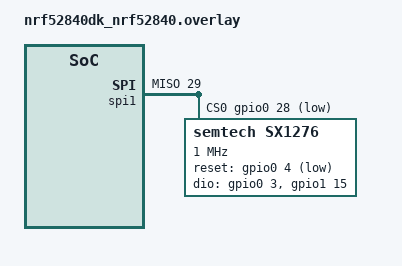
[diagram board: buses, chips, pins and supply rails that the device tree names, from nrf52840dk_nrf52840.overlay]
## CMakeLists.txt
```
#
# Copyright (c) 2019 Nordic Semiconductor ASA
#
# SPDX-License-Identifier: LicenseRef-BSD-5-Clause-Nordic
#
cmake_minimum_required(VERSION 3.8.2)

#Board selection
set(BOARD nrf52840dk_nrf52840)
#set(BOARD nrf5340pdk_nrf5340_cpunet)
#set(BOARD nrf5340pdk_nrf5340_cpuapp)
#set(BOARD nrf52840dongle_nrf52840)
#set(BOARD nrf52840dk_nrf52811)

find_package(Zephyr REQUIRED HINTS $ENV{ZEPHYR_BASE})
project(NONE)

# Include all files in folder src
FILE(GLOB app_sources_c src/*.c)
FILE(GLOB app_sources_cpp src/*.cpp)

target_sources(app PRIVATE
	${app_sources_c}
	${app_sources_cpp}
	sht3x-5.2.1/hw_i2c/sample-implementations/zephyr_user_space/sensirion_hw_i2c_implementation.c
	sht3x-5.2.1/sensirion_common.c
	sht3x-5.2.1/sht_git_version.c
	sht3x-5.2.1/sht3x.c)
target_include_directories(app PRIVATE include
	sht3x-5.2.1)
```

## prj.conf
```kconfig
#
# Copyright (c) 2019 Nordic Semiconductor ASA
#
# SPDX-License-Identifier: LicenseRef-BSD-5-Clause-Nordic
#
CONFIG_NCS_SAMPLES_DEFAULTS=y

# General configuration
CONFIG_SYSTEM_WORKQUEUE_STACK_SIZE=2048
CONFIG_FLASH=y
CONFIG_FLASH_MAP=y
#CONFIG_FCB=y
CONFIG_NVS=y
CONFIG_SETTINGS=y
CONFIG_HWINFO=y
CONFIG_LOG=y
CONFIG_LOG_PRINTK=y

CONFIG_DK_LIBRARY=y
CONFIG_BT_MESH_DK_PROV=y

# Bluetooth configuration
CONFIG_BT=y
CONFIG_BT_COMPANY_ID=0x0059
CONFIG_BT_DEVICE_NAME="LoRa Temp.Hum. Sensor"
CONFIG_BT_L2CAP_RX_MTU=69
CONFIG_BT_L2CAP_TX_MTU=69
CONFIG_BT_L2CAP_TX_BUF_COUNT=8
CONFIG_BT_LL_SW_SPLIT=y
CONFIG_BT_OBSERVER=y
CONFIG_BT_PERIPHERAL=y
CONFIG_BT_SETTINGS=y

# Disable unused Bluetooth features
CONFIG_BT_CTLR_DUP_FILTER_LEN=0
CONFIG_BT_CTLR_LE_ENC=n
CONFIG_BT_DATA_LEN_UPDATE=n
CONFIG_BT_PHY_UPDATE=n
CONFIG_BT_CTLR_CHAN_SEL_2=n
CONFIG_BT_CTLR_MIN_USED_CHAN=n
CONFIG_BT_CTLR_PRIVACY=n

# Bluetooth Mesh configuration
CONFIG_BT_MESH=y
CONFIG_BT_MESH_RELAY=y
CONFIG_BT_MESH_FRIEND=y
CONFIG_BT_MESH_LOW_POWER=n
CONFIG_BT_MESH_LPN_AUTO=n
CONFIG_BT_MESH_LPN_AUTO_TIMEOUT=5
CONFIG_BT_MESH_ADV_BUF_COUNT=13
CONFIG_BT_MESH_TX_SEG_MAX=10
CONFIG_BT_MESH_PB_GATT=y
CONFIG_BT_MESH_GATT_PROXY=n

# Bluetooth Mesh models
CONFIG_BT_MESH_SENSOR_SRV=y

# For NRF Dongle over SWD Flashing
#CONFIG_BOARD_HAS_NRF5_BOOTLOADER=y

# I2C SHT3xd Sensor
#CONFIG_STDOUT_CONSOLE=y
CONFIG_I2C=y
CONFIG_NEWLIB_LIBC=n
CONFIG_NEWLIB_LIBC_FLOAT_PRINTF=n
#CONFIG_SENSOR=y
#CONFIG_SHT3XD=y

# Power Managment Device
#CONFIG_PM=y
#CONFIG_PM_DEEP_SLEEP_STATES=y
#CONFIG_PM_STATE_LOCK=y
#CONFIG_SERIAL=n


# LoRa Stuff


# Enable GPIO pins and the SPI interface for 
# communicating with the RF95W module
CONFIG_GPIO=y
CONFIG_SPI=y

# Config USB support so that we can use a USB 
# to view log and debug information
#CONFIG_USB=y
#CONFIG_USB_DEVICE_STACK=y
#CONFIG_USB_DEVICE_PRODUCT="Zephyr Console"

# Point the console to the USB
#CONFIG_USB_UART_CONSOLE=y
#CONFIG_UART_INTERRUPT_DRIVEN=y
#CONFIG_UART_LINE_CTRL=y
#CONFIG_UART_CONSOLE_ON_DEV_NAME="CDC_ACM_0"

# Enable the console, logging and the printk function
CONFIG_CONSOLE=y
CONFIG_LOG=y
CONFIG_PRINTK=y

# Enable the SX12XX radio driver for Lora
CONFIG_LORA=y
CONFIG_LORA_LOG_LEVEL_DBG=y
CONFIG_LORA_SX12XX=y
CONFIG_LORA_SX1276=y

# Enable the Lorawan stack
CONFIG_LORAWAN=y
CONFIG_LORAWAN_LOG_LEVEL_DBG=y
# Define the Lorawan region to be used:
CONFIG_LORAMAC_REGION_EU868=y
#CONFIG_LORAWAN_SYSTEM_MAX_RX_ERROR=90
```

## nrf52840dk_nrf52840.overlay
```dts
&spi1 {
   status = "okay";
   miso-pin = <29>;
   cs-gpios = <&gpio0 28 GPIO_ACTIVE_LOW>;

      lora: sx1276@0 {
       compatible = "semtech,sx1276";
       reg = <0>;
       label = "sx1276";
       reset-gpios = <&gpio0 4 GPIO_ACTIVE_LOW>;
       dio-gpios = <&gpio0 3 (GPIO_PULL_DOWN | GPIO_ACTIVE_HIGH)>,<&gpio1 15 (GPIO_PULL_DOWN | GPIO_ACTIVE_HIGH)>;
       spi-max-frequency = <1000000>;
       power-amplifier-output = "pa-boost";
   };

};

/ {
   aliases {
      lora0 = &lora;
 };
};
```

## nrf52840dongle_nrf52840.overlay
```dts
arduino_i2c: &i2c0 {
	compatible = "nordic,nrf-twi";
	status = "okay";
	sda-pin = <20>;
	scl-pin = <22>;
};
```

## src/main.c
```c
#include "bm_config.h"
#include "bm_blemesh.h"
#include "bm_simple_buttons_and_leds.h"
#include <zephyr.h>



/*
 * Class A LoRaWAN sample application
 *
 * Copyright (c) 2020 Manivannan Sadhasivam <mani@kernel.org>
 *
 * Modified by Primal Cortex -> https://primalcortex.wordpress.com/2020/11/17/a-zephyr-rtos-based-ttn-lorawan-node/
 *            - Enabled OTAA
 *            - Enabled ADR
 *            - Enable packet send after duty cycle restrition
 *
 * SPDX-License-Identifier: Apache-2.0
 */

#define   OTAA              // Enables OTAA. Comment out and enable line below for ABP.
//#define ABP

#include <lorawan/lorawan.h>
#include <drivers/lora.h>

#define DEFAULT_RADIO_NODE DT_ALIAS(lora0)
BUILD_ASSERT(DT_NODE_HAS_STATUS(DEFAULT_RADIO_NODE, okay),
	     "No default LoRa radio specified in DT");
#define DEFAULT_RADIO DT_LABEL(DEFAULT_RADIO_NODE)

/* Customize based on network configuration */
// OTAA
#ifdef OTAA
#define LORAWAN_DEV_EUI			{ 0xAD, 0xD9, 0x13, 0xFC, 0x0E, 0x98, 0x66, 0x00 }    // LSB Format!
#define LORAWAN_JOIN_EUI		{ 0xBB, 0x1B, 0x04, 0xD0, 0x7E, 0xD5, 0xB3, 0x70 }
#define LORAWAN_APP_KEY         { 0x8C, 0x16, 0x24, 0x92, 0x1E, 0xF5, 0xAF, 0x7B, 0xD9, 0x30, 0x22, 0xEF, 0xA7, 0x21, 0x4F, 0xD9 }
#endif

// ABP
#ifdef ABP
#define LORAWAN_DEV_ADDR        { 0x00, 0x00, 0x00, 0x00 }
#define LORAWAN_NWK_SKEY        { 0x00, 0x00, 0x00, 0x00, 0x00, 0x00, 0x00, 0x00, 0x00, 0x00, 0x00, 0x00, 0x00, 0x00, 0x00, 0x00 }
#define LORAWAN_APP_SKEY        { 0x00, 0x00, 0x00, 0x00, 0x00, 0x00, 0x00, 0x00, 0xD0, 0x06, 0x00, 0x00, 0x00, 0x00, 0x00, 0x00 }
#define LORAWAN_APP_EUI         { 0x00, 0x00, 0x00, 0x00, 0xD0, 0x00, 0x00, 0x00 }
#endif

#define DELAY K_MSEC(10000)

char data[] = {'h', 'e', 'l', 'l', 'o', 'w', 'o', 'r', 'l', 'd','f','r','o','z','e','p','h','y','r'};

/* size of stack area used by each thread */
#define STACKSIZE 1024

/* scheduling priority used by each thread */
#define PRIORITY 7

//#define LED0_NODE DT_ALIAS(led0)
//#define LED1_NODE DT_ALIAS(led1)



/**@brief Function for application main entry.
 */
void main(void) {
  // Start Application
  printk("Starting Application...\n");
  // Init MAC Address
  uint32_t LSB_MAC_Address = NRF_FICR->DEVICEADDR[0];
  printk("Preprogrammed Randomly Static MAC-Address (LSB): 0x%x, %u \n", LSB_MAC_Address, LSB_MAC_Address);
  /* --------------- Init Board ------------*/
	printk("Init Buttons and LEDs...\n");
	bm_init_leds();
	printk("Buttons and LEDs initialized\n");
  printk("Init SHT3xd Sensor\n");

	/* ===================================*/

  // Start Mesh Operation
  bm_blemesh_enable(); // Will return faster than the Stack is realy ready... keep on waiting in the transition.


  	const struct device *lora_dev;
	struct lorawan_join_config join_cfg;
#ifdef OTAA
	uint8_t dev_eui[] = LORAWAN_DEV_EUI;
	uint8_t join_eui[] = LORAWAN_JOIN_EUI;
	uint8_t app_key[] = LORAWAN_APP_KEY;
#endif

#ifdef ABP
    uint8_t dev_addr[] = LORAWAN_DEV_ADDR;
    uint8_t nwk_skey[] = LORAWAN_NWK_SKEY;
    uint8_t app_skey[] = LORAWAN_APP_SKEY;
    uint8_t app_eui[]  = LORAWAN_APP_EUI;
#endif
	int ret;

    printk("Starting up Lora node...\n\n");

	lora_dev = device_get_binding(DEFAULT_RADIO);
	if (!lora_dev) {
        printk("Lora default radio not found.\nExiting program.\n");
		return;
	}

	/* LoRa MAC Layer Test */
	uint8_t rx_data[255];
	int16_t rssi;
	int8_t snr;
	lora_recv(lora_dev,rx_data,255,K_FOREVER,&rssi,&snr);

	printk("Data: %x, RSSI %d, SNR %d\n",rx_data[0],rssi,snr);

    printk("Starting Lorawan stack...\n");
	ret = lorawan_start();
	if (ret < 0) {
		printk("lorawan_start failed: %d\n\n", ret);
		return;
	}


    // Enable ADR
    lorawan_enable_adr( true );

#ifdef OTAA
	join_cfg.mode = LORAWAN_CLASS_A;
	join_cfg.dev_eui = dev_eui;
	join_cfg.otaa.join_eui = join_eui;
	join_cfg.otaa.app_key = app_key;
	join_cfg.otaa.nwk_key = app_key;
#endif

#ifdef ABP
    join_cfg.mode = LORAWAN_ACT_ABP;
    join_cfg.dev_eui = dev_addr;
    join_cfg.abp.dev_addr = dev_addr;
    join_cfg.abp.app_skey = app_skey;
    join_cfg.abp.nwk_skey = nwk_skey;
    join_cfg.abp.app_eui  = app_eui;
#endif


	printk("Joining TTN network over");
#ifdef OTAA
    printk(" OTTA\n\n\n");
#else
    printk(" ABP\n\n\n");
#endif
	ret = lorawan_join(&join_cfg);
	if (ret < 0) {
		printk("lorawan_join_network failed: %d\n\n", ret);
		bm_led0_set(true);
		return;
	} else {
		bm_led3_set(true);
	}

	printk("Sending data...\n\n");

	while (1) {
		ret = lorawan_send(2, data, sizeof(data), LORAWAN_MSG_CONFIRMED);

		if (ret == -EAGAIN) {
			k_sleep(DELAY);
			continue;
		}

		if (ret < 0) {
			k_sleep(DELAY);
			continue;
		}

		printk("Data sent!\n\n");
		k_sleep(DELAY);
	}




}
```

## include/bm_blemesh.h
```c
/*
This file is part of Bluetooth-Benchamrk.

Bluetooth-Benchamrk is free software: you can redistribute it and/or modify
it under the terms of the GNU General Public License as published by
the Free Software Foundation, either version 3 of the License, or
(at your option) any later version.

Bluetooth-Benchamrk is distributed in the hope that it will be useful,
but WITHOUT ANY WARRANTY; without even the implied warranty of
MERCHANTABILITY or FITNESS FOR A PARTICULAR PURPOSE.  See the
GNU General Public License for more details.

You should have received a copy of the GNU General Public License
along with Bluetooth-Benchamrk.  If not, see <http://www.gnu.org/licenses/>.
*/

/* AUTHOR 	 :    Raffael Anklin       */

#ifndef BM_BLEMESH_H
#define BM_BLEMESH_H

/* Init and enable the BLE Mesh Stack 
* 
*	Does prepare for Mesh operation
*/
void bm_blemesh_enable(void);

#endif
```

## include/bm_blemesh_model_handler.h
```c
/*
This file is part of Bluetooth-Benchamrk.

Bluetooth-Benchamrk is free software: you can redistribute it and/or modify
it under the terms of the GNU General Public License as published by
the Free Software Foundation, either version 3 of the License, or
(at your option) any later version.

Bluetooth-Benchamrk is distributed in the hope that it will be useful,
but WITHOUT ANY WARRANTY; without even the implied warranty of
MERCHANTABILITY or FITNESS FOR A PARTICULAR PURPOSE.  See the
GNU General Public License for more details.

You should have received a copy of the GNU General Public License
along with Bluetooth-Benchamrk.  If not, see <http://www.gnu.org/licenses/>.
*/

/* AUTHOR 	 :    Raffael Anklin       */

#ifndef MODEL_HANDLER_H__
#define MODEL_HANDLER_H__

#include "bm_config.h"

#ifdef __cplusplus
extern "C" {
#endif



const struct bt_mesh_comp *bm_blemesh_model_handler_init(void);


#ifdef __cplusplus
}
#endif

#endif /* MODEL_HANDLER_H__ */
```

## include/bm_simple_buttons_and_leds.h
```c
/*
This file is part of Benchamrk-Shared-Library.

Benchamrk-Shared-Library is free software: you can redistribute it and/or modify
it under the terms of the GNU General Public License as published by
the Free Software Foundation, either version 3 of the License, or
(at your option) any later version.

Benchamrk-Shared-Library is distributed in the hope that it will be useful,
but WITHOUT ANY WARRANTY; without even the implied warranty of
MERCHANTABILITY or FITNESS FOR A PARTICULAR PURPOSE.  See the
GNU General Public License for more details.

You should have received a copy of the GNU General Public License
along with Benchamrk-Shared-Library.  If not, see <http://www.gnu.org/licenses/>.
*/

/* AUTHOR ZEPHYR_BLE_MESH  :   Raffael Anklin        */
/* AUTHOR NRF_SDK_ZIGBEE   :   Cyrill Horath        */


#ifdef __cplusplus
extern "C" {
#endif

#ifndef SIMPLE_BUTTONS_AND_LEDS_H
#define SIMPLE_BUTTONS_AND_LEDS_H

#include "bm_config.h"

#include <zephyr.h>
#include <device.h>
#include <devicetree.h>
#include <devicetree_unfixed.h>
#include <drivers/gpio.h>
#include <sys/util.h>
#include <sys/slist.h>

/*
 * Devicetree helper macro which gets the 'flags' cell from a 'gpios'
 * property, or returns 0 if the property has no 'flags' cell.
 */

#define FLAGS_OR_ZERO(node)						\
	COND_CODE_1(DT_PHA_HAS_CELL(node, gpios, flags),		\
		    (DT_GPIO_FLAGS(node, gpios)),			\
		    (0))



/* The devicetree node identifier for the "led0" alias. */
#define LED0_NODE DT_ALIAS(led0)

#if DT_NODE_HAS_STATUS(LED0_NODE, okay)
#define LED0	DT_GPIO_LABEL(LED0_NODE, gpios)
#define PIN_LED0	DT_GPIO_PIN(LED0_NODE, gpios)
#if DT_PHA_HAS_CELL(LED0_NODE, gpios, flags)
#define FLAGS_LED0	DT_GPIO_FLAGS(LED0_NODE, gpios)
#endif
#else
/* A build error here means your board isn't set up to blink an LED. */
#error "Unsupported board: led0 devicetree alias is not defined"
#define LED0	""
#define PIN_LED0	0
#endif

#ifndef FLAGS_LED0
#define FLAGS_LED0	0
#endif

/* The devicetree node identifier for the "led1" alias. Is the RED LED on THe nRF52 Donlge*/
#define LED1_NODE DT_ALIAS(led1)

#if DT_NODE_HAS_STATUS(LED1_NODE, okay)
#define LED1	DT_GPIO_LABEL(LED1_NODE, gpios)
#define PIN_LED1	DT_GPIO_PIN(LED1_NODE, gpios)
#if DT_PHA_HAS_CELL(LED1_NODE, gpios, flags)
#define FLAGS_LED1	DT_GPIO_FLAGS(LED1_NODE, gpios)
#endif
#else
/* A build error here means your board isn't set up to blink an LED. */
#error "Unsupported board: led1 devicetree alias is not defined"
#define LED1	""
#define PIN_LED1	0
#endif

#ifndef FLAGS_LED1
#define FLAGS_LED1	0
#endif


/* The devicetree node identifier for the "led2" alias. Is the GREEN LED on THe nRF52 Donlge*/
#define LED2_NODE DT_ALIAS(led2)

#if DT_NODE_HAS_STATUS(LED2_NODE, okay)
#define LED2	DT_GPIO_LABEL(LED2_NODE, gpios)
#define PIN_LED2	DT_GPIO_PIN(LED2_NODE, gpios)
#if DT_PHA_HAS_CELL(LED2_NODE, gpios, flags)
#define FLAGS_LED2	DT_GPIO_FLAGS(LED2_NODE, gpios)
#endif
#else
/* A build error here means your board isn't set up to blink an LED. */
#error "Unsupported board: led2 devicetree alias is not defined"
#define LED2	""
#define PIN_LED2	0
#endif

#ifndef FLAGS_LED2
#define FLAGS_LED1	0
#endif

/* The devicetree node identifier for the "led3" alias. Is the BLUE LED on THe nRF52 Donlge*/
#define LED3_NODE DT_ALIAS(led3)

#if DT_NODE_HAS_STATUS(LED3_NODE, okay)
#define LED3	DT_GPIO_LABEL(LED3_NODE, gpios)
#define PIN_LED3	DT_GPIO_PIN(LED3_NODE, gpios)
#if DT_PHA_HAS_CELL(LED3_NODE, gpios, flags)
#define FLAGS_LED3	DT_GPIO_FLAGS(LED3_NODE, gpios)
#endif
#else
/* A build error here means your board isn't set up to blink an LED. */
#error "Unsupported board: led3 devicetree alias is not defined"
#define LED3	""
#define PIN_LED3	0
#endif

#ifndef FLAGS_LED3
#define FLAGS_LED3	0
#endif


/*
 * Get button configuration from the devicetree sw0 alias.
 *
 * At least a GPIO device and pin number must be provided. The 'flags'
 * cell is optional.
 */

#define SW0_NODE	DT_ALIAS(sw0)

#if DT_NODE_HAS_STATUS(SW0_NODE, okay)
#define SW0_GPIO_LABEL	DT_GPIO_LABEL(SW0_NODE, gpios)
#define SW0_GPIO_PIN	DT_GPIO_PIN(SW0_NODE, gpios)
#define SW0_GPIO_FLAGS	(GPIO_INPUT | FLAGS_OR_ZERO(SW0_NODE) | GPIO_INT_DEBOUNCE)
#else
#error "Unsupported board: sw0 devicetree alias is not defined"
#define SW0_GPIO_LABEL	""
#define SW0_GPIO_PIN	0
#define SW0_GPIO_FLAGS	0
#endif





/**
* Init the Buttons
*
*/
void bm_init_buttons(void (*button0_cb)());

/**
* Init the Signal
*
*/
void bm_init_signal(void (*signal_cb)());

/**
* Init the Pulse
*
*/
void bm_init_pulse(void (*pulse_cb)());


/**
* Get the BUTTON0 Toggled State
*
* @return State of the BUTTON0 Toggled State (0/1)
*/
bool bm_button0_toggle_state_get();

/**
* Set the BUTTON0 Toggled State
*
* @param State of the BUTTON0 Toggled State (0/1)
*/
void bm_button0_toggle_state_set(bool newstate);

/**
* Get the PULSE Toggled State
*
* @return State of the PULSE Toggled State (0/1)
*/
bool bm_pulse_toggle_state_get();

/**
* Set the PULSE Toggled State
*
* @param State of the PULSE Toggled State (0/1)
*/
void bm_pulse_toggle_state_set(bool newstate);

/**
* Get the SIGNAL State
*
* @return State of the SIGNAL State (0/1)
*/
bool bm_signal_state_get();

/**
* Get the SIGNAL Toggled State
*
* @return State of the SIGNAL Toggled State (0/1)
*/
bool bm_signal_toggle_state_get();

/**
* Set the SIGNAL Toggled State
*
* @param State of the SIGNAL Toggled State (0/1)
*/
void bm_signal_toggle_state_set(bool newstate);


/**
* Init the Leds
*
*/
void bm_init_leds();

/**
* Init the Switch
*
*/
void bm_init_switch();

/**
* Set the LED0 State
*
* @param State to set the LED0 to (0/1) (GREEN no RGB on nRF52 Dongle / LED1 on nRF52 DK)
*/
void bm_led0_set(bool state);

/**
* Get the LED0 State
*
* @return State of the LED0 (0/1) (GREEN no RGB on nRF52 Dongle / LED1 on nRF52 DK)
*/
bool bm_led0_get();


/**
* Set the LED1 State
*
* @param State to set the LED1 to (0/1) (RED on nRF52 Dongle / LED2 on nRF52 DK)
*/
void bm_led1_set(bool state);

/**
* Get the LED1 State
*
* @return State of the LED1 (0/1) (RED on nRF52 Dongle / LED2 on nRF52 DK)
*/
bool bm_led1_get();

/**
* Set the LED2 State
*
* @param State to set the LED2 to (0/1) (GREEN on nRF52 Dongle / LED3 on nRF52 DK)
*/
void bm_led2_set(bool state);

/**
* Get the LED2 State
*
* @return State of the LED2 (0/1) (GREEN on nRF52 Dongle / LED3 on nRF52 DK)
*/
bool bm_led2_get();

/**
* Set the LED3 State
*
* @param State to set the LED3 to (0/1) (BLUE on nRF52 Dongle / LED4 on nRF52 DK)
*/
void bm_led3_set(bool state);

/**
* Get the LED3 State
*
* @return State of the LED3 (0/1) (BLUE on nRF52 Dongle / LED4 on nRF52 DK)
*/
bool bm_led3_get();

/**
* Set the Switch State
*
* @param State to set the Switch to (0/1) 
*/
void bm_switch_set(bool state);

/**
* Get the SWITCH State
*
* @return State of the SWITCH (0/1)
*/
bool bm_switch_get();

#endif

#ifdef __cplusplus
}
#endif
```

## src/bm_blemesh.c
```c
/*
This file is part of Bluetooth-Benchamrk.

Bluetooth-Benchamrk is free software: you can redistribute it and/or modify
it under the terms of the GNU General Public License as published by
the Free Software Foundation, either version 3 of the License, or
(at your option) any later version.

Bluetooth-Benchamrk is distributed in the hope that it will be useful,
but WITHOUT ANY WARRANTY; without even the implied warranty of
MERCHANTABILITY or FITNESS FOR A PARTICULAR PURPOSE.  See the
GNU General Public License for more details.

You should have received a copy of the GNU General Public License
along with Bluetooth-Benchamrk.  If not, see <http://www.gnu.org/licenses/>.
*/

/* AUTHOR 	 :    Raffael Anklin       */

/* Pin Assigments: 

| Port.Pin 	| Description
|	P0.26	|	SCL I2C SHT3xd
|	P0.27	|	SDA I2C SHT3xd

*/


#include "bm_config.h"
#include <bluetooth/bluetooth.h>
#include <bluetooth/mesh/models.h>
#include <drivers/hwinfo.h>
#include "bm_blemesh_model_handler.h"
#include "bm_blemesh.h"
#include <bluetooth/mesh/main.h>
#include "bm_simple_buttons_and_leds.h"



static bool initialized=false; // Flag if the Stack is initialized

static void prov_complete(uint16_t net_idx, uint16_t src)
{
	printk("Prov complete! Addr: 0x%04x\n", src);
}

static void prov_reset(void)
{
	bt_mesh_prov_enable(BT_MESH_PROV_ADV | BT_MESH_PROV_GATT);
}

static int input(bt_mesh_input_action_t act, uint8_t size)
{
	printk("Press a button to set the right number.");
	return 0;
}

static void input_complete(void)
{
	printk("Input Complete");
}

static int output_number(bt_mesh_output_action_t action, uint32_t number)
{
	if (action == BT_MESH_DISPLAY_NUMBER) {
		printk("OOB Number: %u\n", number);
		return 0;
	}

	if (action == BT_MESH_BLINK) {
		printk("Blinking %u times", number);
		return 0;
	}

	return -ENOTSUP;
}

static int output_string(const char *string)
{
	printk("OOB String: %s\n", string);
	return 0;
}

static uint8_t dev_uuid[16];

static struct bt_mesh_prov prov = {
	.uuid = dev_uuid,
	.output_size = 1,
	.output_actions = (0),
	.output_number = output_number,
	.output_string = output_string,
	.input_size = 1,
	.input = input,
	.complete = prov_complete,
	.input_complete = input_complete,
	.reset = prov_reset
	};

// Init the rest while Bluetooth is enabled
static void bt_ready(int err){

	/* --------------- Init Mesh ------------*/
	printk("Init Mesh...\n");
	
	hwinfo_get_device_id(dev_uuid, sizeof(dev_uuid));
	// Do catch for nrf53 -> no HWINFO set (0xFFFF)
	if (dev_uuid[0] == 0xFF && dev_uuid[1] == 0xFF && dev_uuid[5] == 0xFF){
		uint8_t *p0 = (uint8_t*)&NRF_FICR->DEVICEADDR[0]; // Use MAC Address for UUID
		dev_uuid[0] = p0[0];
		dev_uuid[1] = p0[1];
		dev_uuid[2] = p0[2];
		dev_uuid[3] = p0[3];
		uint8_t *p1 = (uint8_t*)&NRF_FICR->DEVICEADDR[1]; // Use MAC Address for UUID
		dev_uuid[4] = p1[0];
		dev_uuid[5] = p1[1];
	}

	err = bt_mesh_init(&prov, bm_blemesh_model_handler_init());
	if (err)
	{
		printk("Initializing mesh failed (err %d)\n", err);
		return;
	}
	printk("Mesh initialized\n");
	/* ===================================*/

	/* ------------- Provisioning ------------*/
	printk("Provisioning...\n");
	if (IS_ENABLED(CONFIG_SETTINGS))
	{
		settings_load();
	}
	/* 
	err = bt_mesh_provision(net_key, net_idx, flags, iv_index, addr,
							dev_key);
	*/
	/* This will be a no-op if settings_load() loaded provisioning info */
	err = bt_mesh_prov_enable(BT_MESH_PROV_ADV | BT_MESH_PROV_GATT);
	if (err == -EALREADY)
	{
		printk("Already Provisioned (Restored Settings)\n");
	}
	else if (err)
	{
		printk("Provisioning failed (err %d)\n", err);
		return;
	}
	else
	{
		printk("Provisioning completed\n");
	}
	/* ===================================*/

	initialized = true;
}

void bm_blemesh_enable(void)
{
	int err;

	/* ---------- Init Bluetooth ---------- */
	printk("Enabling Bluetooth...\n");
	err = bt_enable(bt_ready);
	while (initialized == false){
		k_sleep(K_MSEC(10));
	}
	if (err)
	{
		printk("Bluetooth init failed (err %d)\n", err);
		return;
	} 
	printk("Bluetooth initialized\n");
	/* =====================================*/

	
	//bm_sleep(bm_rand_32 % 5000); // Sleep Random Time for LPN Activation
	/*
	bt_mesh_cfg_friend_set(net_idx,addr,false,&stat);
	printk("Err Code: %d\n", stat);
	bt_mesh_lpn_set(true); // Enable Low Power Node
	*/	
	printk("Configuring done\n");

	//bt_mesh_lpn_set(true); // Enable Low Power Node

	//bm_led0_set(true); // Signal that the Configuring was sucessfull
	/* ===================================*/	
}
```

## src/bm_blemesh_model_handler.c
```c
/*
This file is part of Bluetooth-Benchamrk.

Bluetooth-Benchamrk is free software: you can redistribute it and/or modify
it under the terms of the GNU General Public License as published by
the Free Software Foundation, either version 3 of the License, or
(at your option) any later version.

Bluetooth-Benchamrk is distributed in the hope that it will be useful,
but WITHOUT ANY WARRANTY; without even the implied warranty of
MERCHANTABILITY or FITNESS FOR A PARTICULAR PURPOSE.  See the
GNU General Public License for more details.

You should have received a copy of the GNU General Public License
along with Bluetooth-Benchamrk.  If not, see <http://www.gnu.org/licenses/>.
*/

/* AUTHOR 	 :    Raffael Anklin       */

/* Pin Assigments: 

| Port.Pin 	| Description
|	P1.10	|	Switch ON/OFF
|	P1.13	|	Signal from Host (1=ON/0=OFF)
|	P1.15	|	Switch Pulse from Host (1s High for Active Switching)

*/

#include "bm_config.h"
#include "bm_simple_buttons_and_leds.h"
#include "bm_blemesh.h"
#include "bm_blemesh_model_handler.h"

#include <bluetooth/bluetooth.h>
#include <bluetooth/mesh/models.h>
#include <bluetooth/mesh/model_types.h>

//#include <device.h>
//#include <drivers/sensor.h>

#include "sht3x.h"

#include <stdio.h>


/** Health Server definition */
static void attention_on(struct bt_mesh_model *model)
{
	printk("attention_on()\n");
}

static void attention_off(struct bt_mesh_model *model)
{
	printk("attention_off()\n");
}
static const struct bt_mesh_health_srv_cb health_srv_cb = {
	.attn_on = attention_on,
	.attn_off = attention_off,
};

static struct bt_mesh_health_srv health_srv = {
	.cb = &health_srv_cb,
};

BT_MESH_HEALTH_PUB_DEFINE(health_pub, 0);


static int rc;
static int32_t temperature, humidity;

// the good stuff
void doubleToSensorValue(double d, struct sensor_value *val) {
  val->val1 = (int)d;
  val->val2 = (d - val->val1) * 1000000;
}

static void temp_hum_get(){
	/* Measure temperature and relative humidity and store into variables
         * temperature, humidity (each output multiplied by 1000).
         */
	rc = sht3x_measure_blocking_read(&temperature, &humidity);
	if (rc == STATUS_OK)
	{
		printf("measured temperature: %0.2f degreeCelsius, "
			   "measured humidity: %0.2f percentRH\n",
			   temperature / 1000.0f, humidity / 1000.0f);
	}
	else
	{
		printf("error reading measurement\n");
	}
}

static int temp_get(struct bt_mesh_sensor *sensor,
					struct bt_mesh_msg_ctx *ctx, struct sensor_value *rsp)
{
	temp_hum_get();
	doubleToSensorValue((double)temperature / 1000,rsp);
	return rc;
}

static int hum_get(struct bt_mesh_sensor *sensor,
					struct bt_mesh_msg_ctx *ctx, struct sensor_value *rsp)
{
	temp_hum_get();
	doubleToSensorValue((double)humidity / 1000,rsp);
	return rc;
}

static struct bt_mesh_sensor temp = {
	.type = &bt_mesh_sensor_present_dev_op_temp,
	.get = temp_get,
};

static struct bt_mesh_sensor hum = {
	.type = &bt_mesh_sensor_present_amb_rel_humidity,
	.get = hum_get,
};

static struct bt_mesh_sensor *const sensors[] = {
	&temp,
	&hum};

static struct bt_mesh_sensor_srv sensor_srv = BT_MESH_SENSOR_SRV_INIT(sensors, ARRAY_SIZE(sensors));

/* Define all Elements */
static struct bt_mesh_elem elements[] = {
	BT_MESH_ELEM(
		1, BT_MESH_MODEL_LIST(BT_MESH_MODEL_CFG_SRV, BT_MESH_MODEL_HEALTH_SRV(&health_srv, &health_pub), BT_MESH_MODEL_SENSOR_SRV(&sensor_srv)),
		BT_MESH_MODEL_NONE)};

/* Create Composition */
static const struct bt_mesh_comp comp = {
	.cid = CONFIG_BT_COMPANY_ID,
	.elem = elements,
	.elem_count = ARRAY_SIZE(elements),
};

const struct bt_mesh_comp *bm_blemesh_model_handler_init(void)
{
	/*
	dev = device_get_binding("SHT3XD");
	if (dev == NULL)
	{
		printf("Could not get SHT3XD device\n");
	}
	*/
	/* Initialize the i2c bus for the current platform */
	sensirion_i2c_init();
	sensirion_i2c_select_bus(0);

	k_sleep(K_MSEC(1000));

	temp_hum_get();

	return &comp;
}
```
